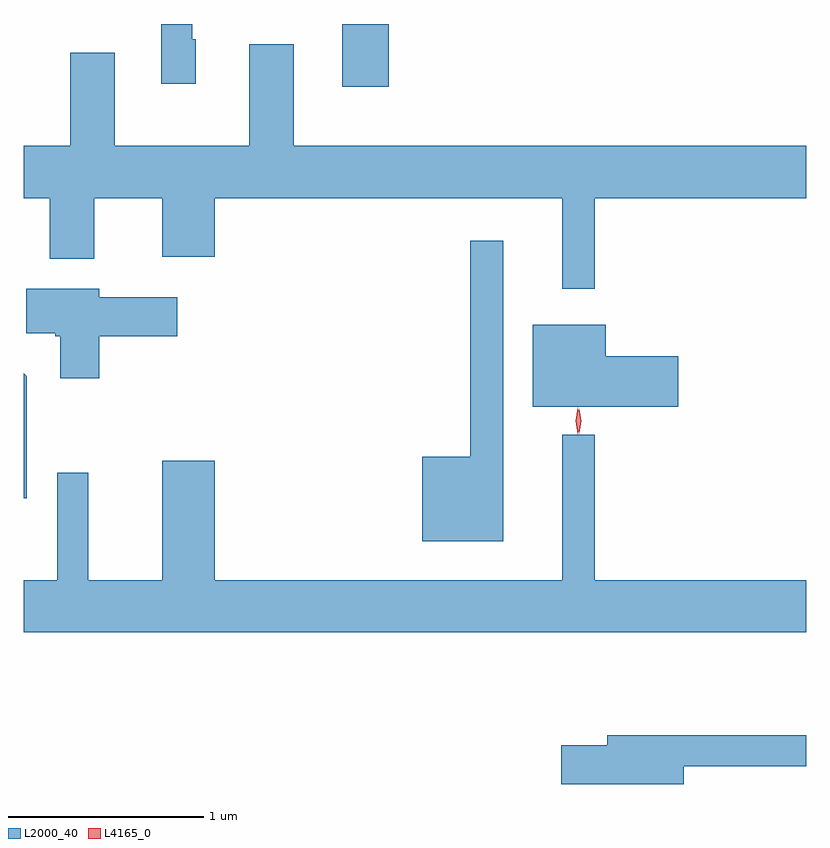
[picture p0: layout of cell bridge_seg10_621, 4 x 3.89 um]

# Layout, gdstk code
import gdstk
lib = gdstk.Library(unit=1e-6, precision=1e-09)
def R(c, l, rs):  # rectangles x0, y0, x1, y1
    for r in rs: c.add(gdstk.rectangle(r[:2], r[2:], *l))
def P(c, l, *ps):  # polygons
    for p in ps: c.add(gdstk.Polygon(p, *l))
L2000_40 = (2000, 40)
L4165_0 = (4165, 0)

bridge_seg10_621 = lib.new_cell('bridge_seg10_621')
R(bridge_seg10_621, L2000_40, [(715.496,2090.066,715.734,2090.387)])
P(bridge_seg10_621, L2000_40, [(714.749,2090.309),(714.729,2090.309),(714.729,2090.387),(714.571,2090.387),(714.571,2090.081),(714.749,2090.081)],
  [(716.789,2089.496),(717.869,2089.496),(717.869,2089.764),(715.249,2089.764),(715.249,2090.284),(715.021,2090.284),(715.021,2089.764),(714.334,2089.764),(714.334,2090.239),(714.106,2090.239),(714.106,2089.764),(713.869,2089.764),(713.869,2089.496),(714.001,2089.496),(714.001,2089.186),(714.229,2089.186),(714.229,2089.496),(714.576,2089.496),(714.576,2089.196),(714.844,2089.196),(714.844,2089.496),(716.621,2089.496),(716.621,2089.033),(716.789,2089.033)],
  [(716.319,2089.278),(716.151,2089.278),(716.151,2088.174),(715.906,2088.174),(715.906,2087.741),(716.319,2087.741)],
  [(714.254,2088.791),(714.654,2088.791),(714.654,2088.989),(714.254,2088.989),(714.254,2089.034),(713.881,2089.034),(713.881,2088.806),(714.03,2088.806),(714.03,2088.791),(714.056,2088.791),(714.056,2088.576),(714.254,2088.576)],
  [(717.214,2088.689),(716.844,2088.689),(716.844,2088.849),(716.471,2088.849),(716.471,2088.431),(717.214,2088.431)],
  [(713.884,2088.587),(713.869,2088.602),(713.869,2087.961),(713.884,2087.961)],
  [(717.869,2087.544),(716.789,2087.544),(716.789,2088.288),(716.621,2088.288),(716.621,2087.544),(714.844,2087.544),(714.844,2088.154),(714.576,2088.154),(714.576,2087.544),(714.199,2087.544),(714.199,2088.093),(714.041,2088.093),(714.041,2087.544),(713.869,2087.544),(713.869,2087.276),(717.869,2087.276)],
  [(717.244,2086.591),(717.869,2086.591),(717.869,2086.749),(716.851,2086.749),(716.851,2086.699),(716.616,2086.699),(716.616,2086.501),(717.244,2086.501)])
P(bridge_seg10_621, L4165_0, [(716.708,2088.293),(716.708,2088.294),(716.698,2088.356),(716.708,2088.419),(716.708,2088.42),(716.709,2088.419),(716.718,2088.356),(716.709,2088.294)],
  [(716.701,2088.29),(716.701,2088.29),(716.691,2088.358),(716.7,2088.425),(716.701,2088.426),(716.701,2088.425),(716.711,2088.358),(716.702,2088.29)])

lib.write_gds('bridge_seg10_621.gds')
